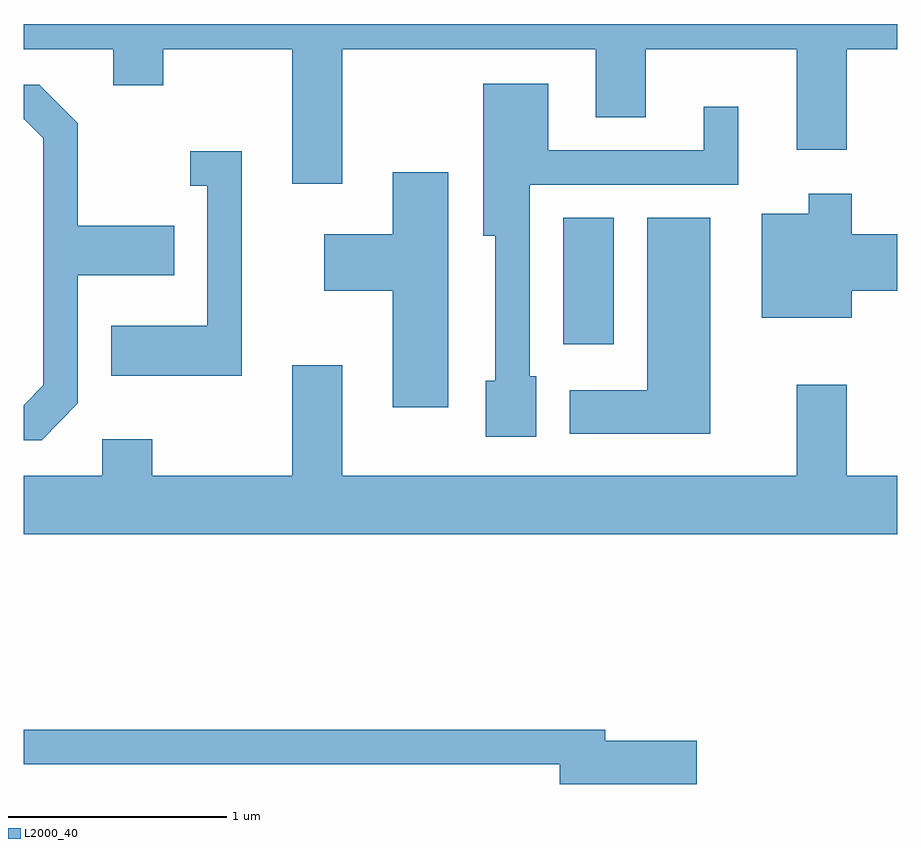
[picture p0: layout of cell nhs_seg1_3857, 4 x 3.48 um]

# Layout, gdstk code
import gdstk
lib = gdstk.Library(unit=1e-6, precision=1e-09)
def R(c, l, rs):  # rectangles x0, y0, x1, y1
    for r in rs: c.add(gdstk.rectangle(r[:2], r[2:], *l))
def P(c, l, *ps):  # polygons
    for p in ps: c.add(gdstk.Polygon(p, *l))
L2000_40 = (2000, 40)

nhs_seg1_3857 = lib.new_cell('nhs_seg1_3857')
R(nhs_seg1_3857, L2000_40, [(304.081,878.246,304.314,878.824)])
P(nhs_seg1_3857, L2000_40, [(303.069,879.596),(304.231,879.596),(304.231,879.286),(304.459,879.286),(304.459,879.596),(305.151,879.596),(305.151,879.136),(305.379,879.136),(305.379,879.596),(305.611,879.596),(305.611,879.712),(301.611,879.712),(301.611,879.596),(302.021,879.596),(302.021,879.431),(302.249,879.431),(302.249,879.596),(302.841,879.596),(302.841,878.981),(303.069,878.981)],
  [(303.959,878.099),(303.929,878.099),(303.929,878.976),(304.884,878.976),(304.884,879.333),(304.726,879.333),(304.726,879.134),(304.014,879.134),(304.014,879.439),(303.716,879.439),(303.716,878.741),(303.771,878.741),(303.771,878.079),(303.726,878.079),(303.726,877.821),(303.959,877.821)],
  [(301.859,877.974),(301.859,878.561),(302.299,878.561),(302.299,878.789),(301.859,878.789),(301.859,879.257),(301.682,879.434),(301.611,879.434),(301.611,879.276),(301.614,879.276),(301.701,879.189),(301.701,878.057),(301.611,877.966),(301.611,877.806),(301.692,877.806)],
  [(302.609,879.129),(302.373,879.129),(302.373,878.971),(302.451,878.971),(302.451,878.329),(302.011,878.329),(302.011,878.101),(302.609,878.101)],
  [(303.554,879.034),(303.301,879.034),(303.301,878.749),(302.986,878.749),(302.986,878.491),(303.301,878.491),(303.301,877.956),(303.554,877.956)],
  [(305.404,878.491),(305.611,878.491),(305.611,878.749),(305.404,878.749),(305.404,878.934),(305.206,878.934),(305.206,878.844),(304.991,878.844),(304.991,878.366),(305.404,878.366)],
  [(304.754,878.824),(304.466,878.824),(304.466,878.034),(304.111,878.034),(304.111,877.836),(304.754,877.836)],
  [(305.611,877.644),(305.379,877.644),(305.379,878.059),(305.151,878.059),(305.151,877.644),(303.069,877.644),(303.069,878.149),(302.841,878.149),(302.841,877.644),(302.199,877.644),(302.199,877.809),(301.971,877.809),(301.971,877.644),(301.611,877.644),(301.611,877.376),(305.611,877.376)],
  [(304.694,876.429),(304.274,876.429),(304.274,876.479),(301.611,876.479),(301.611,876.321),(304.066,876.321),(304.066,876.231),(304.694,876.231)])

lib.write_gds('nhs_seg1_3857.gds')
